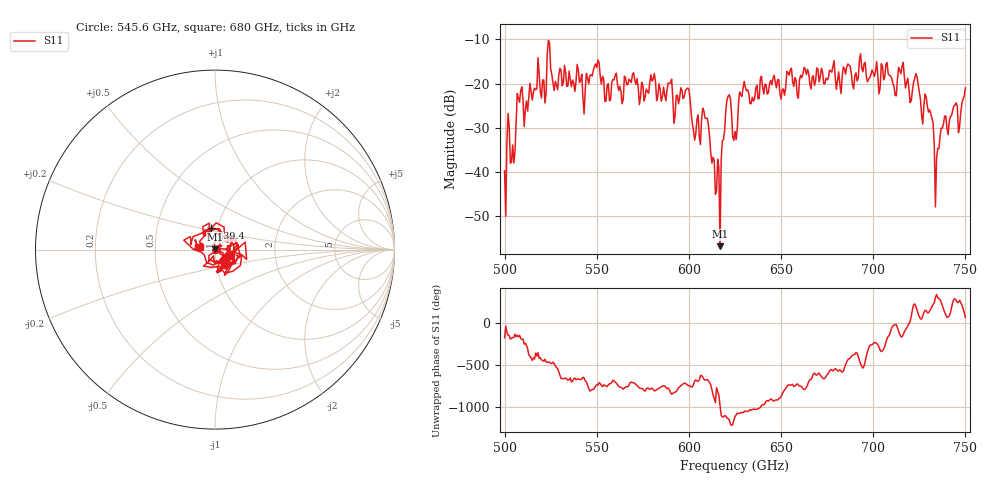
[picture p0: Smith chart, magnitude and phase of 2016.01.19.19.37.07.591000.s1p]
!Created with skrf (http://scikit-rf.org).
# GHz S RI R 50.0
!freq ReS11 ImS11
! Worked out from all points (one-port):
!   401 points, 500 GHz to 750 GHz, reference 50 ohm
!   lowest |S11| = -56.8 dB at 616.9 GHz (marker M1), VSWR 1.00, Z = 50 + j0.141 ohm
!   |S11| at or under -10 dB: start of sweep to end of sweep
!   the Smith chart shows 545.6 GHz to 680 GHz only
!   S11 on the Smith chart (normalised r, x): 545.6 GHz: 1.10, -0.18; 639.4 GHz: 0.93, +0.23; 680 GHz: 0.84, +0.03
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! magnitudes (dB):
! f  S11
! 500 GHz  -39.7
! 502.5 GHz  -29.8
! 504.4 GHz  -33.9
! 508.1 GHz  -24.2
! 521.2 GHz  -19.2
! 524.4 GHz  -10.8
! 527.5 GHz  -19.5
! 531.2 GHz  -20.5
! 545.6 GHz  -20.1
! 562.5 GHz  -20.6
! 593.8 GHz  -22.6
! 599.4 GHz  -21.0
! 603.1 GHz  -32.8
! 608.8 GHz  -27.8
! 615.6 GHz  -37.1
! 616.9 GHz  -56.8
! 621.2 GHz  -22.9
! 625 GHz  -30.8
! 628.8 GHz  -22.9
! 639.4 GHz  -18.3
! 656.2 GHz  -19.5
! 680 GHz  -21.3
! 687.5 GHz  -16.1
! 718.8 GHz  -18.8
! 729.4 GHz  -25.1
! 734.4 GHz  -36.8
! 738.1 GHz  -29.1
! 750 GHz  -20.9
